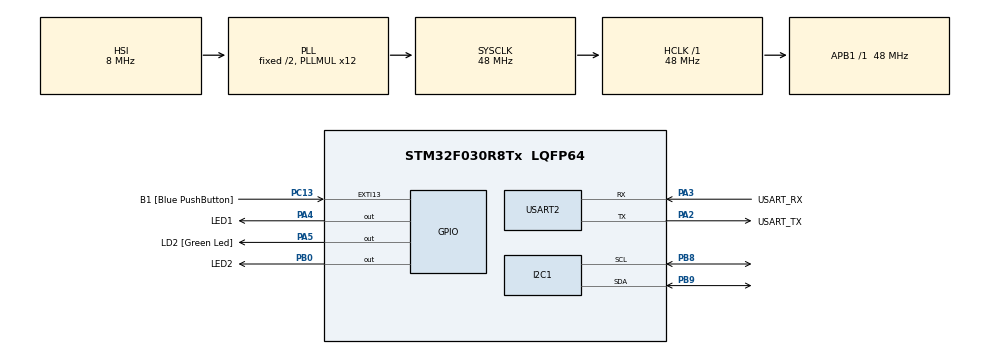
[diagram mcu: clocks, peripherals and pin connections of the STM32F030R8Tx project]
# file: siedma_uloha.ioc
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FREERTOS.Queues01=xVisualQueue,16,int16_t,0,Dynamic,NULL,NULL
FREERTOS.Tasks01=defaultTask,0,128,StartDefaultTask,Default,NULL,Dynamic,NULL,NULL;VisualTask,-3,128,StartVisualTask,Default,NULL,Dynamic,NULL,NULL;AcceleroTask,-3,128,StartAcceleroTask,Default,NULL,Dynamic,NULL,NULL
FREERTOS.configUSE_NEWLIB_REENTRANT=1
Mcu.Family=STM32F0
Mcu.Name=STM32F030R8Tx
Mcu.Package=LQFP64
NVIC.TIM14_IRQn=true\:3\:0\:false\:false\:true\:false\:false\:true\:true
NVIC.TimeBase=TIM14_IRQn
NVIC.TimeBaseIP=TIM14
PA13.GPIO_Label=TMS
PA13.Mode=Serial_Wire
PA13.Signal=SYS_SWDIO
PA14.GPIO_Label=TCK
PA14.Mode=Serial_Wire
PA14.Signal=SYS_SWCLK
PA2.GPIO_Label=USART_TX
PA2.GPIO_Mode=GPIO_MODE_AF_PP
PA2.GPIO_PuPd=GPIO_NOPULL
PA2.GPIO_Speed=GPIO_SPEED_FREQ_LOW
PA2.Mode=Asynchronous
PA2.Signal=USART2_TX
PA3.GPIO_Label=USART_RX
PA3.GPIO_Mode=GPIO_MODE_AF_PP
PA3.GPIO_PuPd=GPIO_NOPULL
PA3.GPIO_Speed=GPIO_SPEED_FREQ_LOW
PA3.Mode=Asynchronous
PA3.Signal=USART2_RX
PA4.GPIO_Label=LED1
PA4.Signal=GPIO_Output
PA5.GPIO_Label=LD2 [Green Led]
PA5.GPIO_Mode=GPIO_MODE_OUTPUT_PP
PA5.GPIO_PuPd=GPIO_NOPULL
PA5.GPIO_Speed=GPIO_SPEED_FREQ_LOW
PA5.Signal=GPIO_Output
PB0.GPIO_Label=LED2
PB0.Signal=GPIO_Output
PB8.Mode=I2C
PB8.Signal=I2C1_SCL
PB9.Mode=I2C
PB9.Signal=I2C1_SDA
PC13.GPIO_Label=B1 [Blue PushButton]
PC13.GPIO_ModeDefaultEXTI=GPIO_MODE_IT_FALLING
PC13.Signal=GPXTI13
PC14-OSC32_IN.Mode=LSE-External-Oscillator
PC14-OSC32_IN.Signal=RCC_OSC32_IN
PC15-OSC32_OUT.Mode=LSE-External-Oscillator
PC15-OSC32_OUT.Signal=RCC_OSC32_OUT
PF0-OSC_IN.Mode=HSE-External-Clock-Source
PF0-OSC_IN.Signal=RCC_OSC_IN
PF1-OSC_OUT.Signal=RCC_OSC_OUT
ProjectManager.HeapSize=0x200
ProjectManager.StackSize=0x400
ProjectManager.TargetToolchain=STM32CubeIDE
RCC.AHBFreq_Value=48000000
RCC.APB1Freq_Value=48000000
RCC.APB1TimFreq_Value=48000000
RCC.HCLKFreq_Value=48000000
RCC.PLLMUL=RCC_PLL_MUL12
RCC.SYSCLKFreq_VALUE=48000000
RCC.SYSCLKSource=RCC_SYSCLKSOURCE_PLLCLK
USART2.VirtualMode-Asynchronous=VM_ASYNC
VP_FREERTOS_VS_CMSIS_V1.Mode=CMSIS_V1
VP_SYS_VS_tim14.Mode=TIM14
board=NUCLEO-F030R8

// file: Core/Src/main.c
/* USER CODE BEGIN Header */
/**
  ******************************************************************************
  * @file           : main.c
  * @brief          : Main program body
  ******************************************************************************
  * @attention
  *
  * Copyright (c) 2023 STMicroelectronics.
  * All rights reserved.
  *
  * This software is licensed under terms that can be found in the LICENSE file
  * in the root directory of this software component.
  * If no LICENSE file comes with this software, it is provided AS-IS.
  *
  ******************************************************************************
  */
/* USER CODE END Header */
#include "main.h"
#include "cmsis_os.h"

/* USER CODE BEGIN Includes */
#include "lis2dw12_reg.h"
#include <stdio.h>
/* USER CODE END Includes */

/* USER CODE BEGIN PD */
#define UART_MSG_SEND_DELAY 1000
/* USER CODE END PD */

I2C_HandleTypeDef hi2c1;

UART_HandleTypeDef huart2;

osThreadId defaultTaskHandle;
osThreadId VisualTaskHandle;
osThreadId AcceleroTaskHandle;
osMessageQId xVisualQueueHandle;

void SystemClock_Config(void);
static void MX_GPIO_Init(void);
static void MX_USART2_UART_Init(void);
static void MX_I2C1_Init(void);
void StartDefaultTask(void const * argument);
void StartVisualTask(void const * argument);
void StartAcceleroTask(void const * argument);

/* USER CODE BEGIN 0 */
static int32_t platform_write(void *handle, uint8_t reg,  uint8_t *bufp, uint16_t len);
static int32_t platform_read(void *handle, uint8_t reg,  uint8_t *bufp, uint16_t len);
static stmdev_ctx_t lis2dw12 = {
 .write_reg = platform_write,
 .read_reg = platform_read,
 .handle = &hi2c1,
};

static int32_t platform_write(void *handle, uint8_t reg,  uint8_t *bufp, uint16_t len)
{
 HAL_I2C_Mem_Write(handle, LIS2DW12_I2C_ADD_H, reg, I2C_MEMADD_SIZE_8BIT, bufp, len, 1000);
 return 0;
}
static int32_t platform_read(void *handle, uint8_t reg,  uint8_t *bufp, uint16_t len)
{
 HAL_I2C_Mem_Read(handle, LIS2DW12_I2C_ADD_H, reg, I2C_MEMADD_SIZE_8BIT, bufp, len, 1000);
 return 0;
}

int _write(int file, char const *buf, int n)
{
	HAL_UART_Transmit(&huart2, (uint8_t*)(buf), n, HAL_MAX_DELAY);
	return n;
}
/* USER CODE END 0 */

int main(void)
{

  /* MCU Configuration--------------------------------------------------------*/

  /* Reset of all peripherals, Initializes the Flash interface and the Systick. */
  HAL_Init();

  /* Configure the system clock */
  SystemClock_Config();

  /* Initialize all configured peripherals */
  MX_GPIO_Init();
  MX_USART2_UART_Init();
  MX_I2C1_Init();

  /* Create the queue(s) */
  /* definition and creation of xVisualQueue */
  osMessageQDef(xVisualQueue, 16, int16_t);
  xVisualQueueHandle = osMessageCreate(osMessageQ(xVisualQueue), NULL);

  /* Create the thread(s) */
  /* definition and creation of defaultTask */
  osThreadDef(defaultTask, StartDefaultTask, osPriorityNormal, 0, 128);
  defaultTaskHandle = osThreadCreate(osThread(defaultTask), NULL);

  /* definition and creation of VisualTask */
  osThreadDef(VisualTask, StartVisualTask, osPriorityIdle, 0, 128);
  VisualTaskHandle = osThreadCreate(osThread(VisualTask), NULL);

  /* definition and creation of AcceleroTask */
  osThreadDef(AcceleroTask, StartAcceleroTask, osPriorityIdle, 0, 128);
  AcceleroTaskHandle = osThreadCreate(osThread(AcceleroTask), NULL);

  /* Start scheduler */
  osKernelStart();

  /* We should never get here as control is now taken by the scheduler */
  /* Infinite loop */
  while (1)
  {

  }
}

void SystemClock_Config(void)
{
  RCC_OscInitTypeDef RCC_OscInitStruct = {0};
  RCC_ClkInitTypeDef RCC_ClkInitStruct = {0};
  RCC_PeriphCLKInitTypeDef PeriphClkInit = {0};

  /** Initializes the RCC Oscillators according to the specified parameters
  * in the RCC_OscInitTypeDef structure.
  */
  RCC_OscInitStruct.OscillatorType = RCC_OSCILLATORTYPE_HSI;
  RCC_OscInitStruct.HSIState = RCC_HSI_ON;
  RCC_OscInitStruct.HSICalibrationValue = RCC_HSICALIBRATION_DEFAULT;
  RCC_OscInitStruct.PLL.PLLState = RCC_PLL_ON;
  RCC_OscInitStruct.PLL.PLLSource = RCC_PLLSOURCE_HSI;
  RCC_OscInitStruct.PLL.PLLMUL = RCC_PLL_MUL12;
  RCC_OscInitStruct.PLL.PREDIV = RCC_PREDIV_DIV1;
  if (HAL_RCC_OscConfig(&RCC_OscInitStruct) != HAL_OK)
  {
    Error_Handler();
  }

  /** Initializes the CPU, AHB and APB buses clocks
  */
  RCC_ClkInitStruct.ClockType = RCC_CLOCKTYPE_HCLK|RCC_CLOCKTYPE_SYSCLK
                              |RCC_CLOCKTYPE_PCLK1;
  RCC_ClkInitStruct.SYSCLKSource = RCC_SYSCLKSOURCE_PLLCLK;
  RCC_ClkInitStruct.AHBCLKDivider = RCC_SYSCLK_DIV1;
  RCC_ClkInitStruct.APB1CLKDivider = RCC_HCLK_DIV1;

  if (HAL_RCC_ClockConfig(&RCC_ClkInitStruct, FLASH_LATENCY_1) != HAL_OK)
  {
    Error_Handler();
  }
  PeriphClkInit.PeriphClockSelection = RCC_PERIPHCLK_I2C1;
  PeriphClkInit.I2c1ClockSelection = RCC_I2C1CLKSOURCE_HSI;
  if (HAL_RCCEx_PeriphCLKConfig(&PeriphClkInit) != HAL_OK)
  {
    Error_Handler();
  }
}

static void MX_I2C1_Init(void)
{

  hi2c1.Instance = I2C1;
  hi2c1.Init.Timing = 0x2000090E;
  hi2c1.Init.OwnAddress1 = 0;
  hi2c1.Init.AddressingMode = I2C_ADDRESSINGMODE_7BIT;
  hi2c1.Init.DualAddressMode = I2C_DUALADDRESS_DISABLE;
  hi2c1.Init.OwnAddress2 = 0;
  hi2c1.Init.OwnAddress2Masks = I2C_OA2_NOMASK;
  hi2c1.Init.GeneralCallMode = I2C_GENERALCALL_DISABLE;
  hi2c1.Init.NoStretchMode = I2C_NOSTRETCH_DISABLE;
  if (HAL_I2C_Init(&hi2c1) != HAL_OK)
  {
    Error_Handler();
  }

  /** Configure Analogue filter
  */
  if (HAL_I2CEx_ConfigAnalogFilter(&hi2c1, I2C_ANALOGFILTER_ENABLE) != HAL_OK)
  {
    Error_Handler();
  }

  /** Configure Digital filter
  */
  if (HAL_I2CEx_ConfigDigitalFilter(&hi2c1, 0) != HAL_OK)
  {
    Error_Handler();
  }

}

static void MX_USART2_UART_Init(void)
{

  huart2.Instance = USART2;
  huart2.Init.BaudRate = 38400;
  huart2.Init.WordLength = UART_WORDLENGTH_8B;
  huart2.Init.StopBits = UART_STOPBITS_1;
  huart2.Init.Parity = UART_PARITY_NONE;
  huart2.Init.Mode = UART_MODE_TX_RX;
  huart2.Init.HwFlowCtl = UART_HWCONTROL_NONE;
  huart2.Init.OverSampling = UART_OVERSAMPLING_16;
  huart2.Init.OneBitSampling = UART_ONE_BIT_SAMPLE_DISABLE;
  huart2.AdvancedInit.AdvFeatureInit = UART_ADVFEATURE_NO_INIT;
  if (HAL_UART_Init(&huart2) != HAL_OK)
  {
    Error_Handler();
  }

}

static void MX_GPIO_Init(void)
{
  GPIO_InitTypeDef GPIO_InitStruct = {0};

  /* GPIO Ports Clock Enable */
  __HAL_RCC_GPIOC_CLK_ENABLE();
  __HAL_RCC_GPIOF_CLK_ENABLE();
  __HAL_RCC_GPIOA_CLK_ENABLE();
  __HAL_RCC_GPIOB_CLK_ENABLE();

  /*Configure GPIO pin Output Level */
  HAL_GPIO_WritePin(GPIOA, LED1_Pin|LD2_Pin, GPIO_PIN_RESET);

  /*Configure GPIO pin Output Level */
  HAL_GPIO_WritePin(LED2_GPIO_Port, LED2_Pin, GPIO_PIN_RESET);

  /*Configure GPIO pin : B1_Pin */
  GPIO_InitStruct.Pin = B1_Pin;
  GPIO_InitStruct.Mode = GPIO_MODE_IT_FALLING;
  GPIO_InitStruct.Pull = GPIO_NOPULL;
  HAL_GPIO_Init(B1_GPIO_Port, &GPIO_InitStruct);

  /*Configure GPIO pins : LED1_Pin LD2_Pin */
  GPIO_InitStruct.Pin = LED1_Pin|LD2_Pin;
  GPIO_InitStruct.Mode = GPIO_MODE_OUTPUT_PP;
  GPIO_InitStruct.Pull = GPIO_NOPULL;
  GPIO_InitStruct.Speed = GPIO_SPEED_FREQ_LOW;
  HAL_GPIO_Init(GPIOA, &GPIO_InitStruct);

  /*Configure GPIO pin : LED2_Pin */
  GPIO_InitStruct.Pin = LED2_Pin;
  GPIO_InitStruct.Mode = GPIO_MODE_OUTPUT_PP;
  GPIO_InitStruct.Pull = GPIO_NOPULL;
  GPIO_InitStruct.Speed = GPIO_SPEED_FREQ_LOW;
  HAL_GPIO_Init(LED2_GPIO_Port, &GPIO_InitStruct);

}

void StartDefaultTask(void const * argument)
{
  /* USER CODE BEGIN 5 */
  /* Infinite loop */
  //int16_t value = 0;
  for(;;)
  {
	// TEST DEMO DATA SENDING LOOP
	/*value = 1001;
	xQueueSend(xVisualQueueHandle, &value, 0);
	osDelay(500);
	value = -1001;
	printf("Hello \n");
	xQueueSend(xVisualQueueHandle, &value, 0);
    osDelay(500);*/
	osDelay(1);
  }
  /* USER CODE END 5 */
}

void StartVisualTask(void const * argument)
{
  /* USER CODE BEGIN StartVisualTask */
  /* Infinite loop */
   for (;;) {
		int16_t msg;
		if (xQueueReceive(xVisualQueueHandle, &msg, portMAX_DELAY)) {
			if (msg < (-1000)) {
				HAL_GPIO_WritePin(LED1_GPIO_Port, LED1_Pin, GPIO_PIN_SET);
				HAL_GPIO_WritePin(LED2_GPIO_Port, LED2_Pin, GPIO_PIN_RESET);
			} else if (msg > 1000) {
				HAL_GPIO_WritePin(LED2_GPIO_Port, LED2_Pin, GPIO_PIN_SET);
				HAL_GPIO_WritePin(LED1_GPIO_Port, LED1_Pin, GPIO_PIN_RESET);
			} else {
				HAL_GPIO_WritePin(LED1_GPIO_Port, LED1_Pin, GPIO_PIN_RESET);
				HAL_GPIO_WritePin(LED2_GPIO_Port, LED2_Pin, GPIO_PIN_RESET);
			}
		}
		osDelay(1);
	}
  /* USER CODE END StartVisualTask */
}

void StartAcceleroTask(void const * argument)
{
  /* USER CODE BEGIN StartAcceleroTask */
	// Check device ID
	uint8_t whoamI = 0;
	uint8_t samples;
	int16_t raw_acceleration[3];
	uint32_t last_uart_msg_tick=0;

	lis2dw12_device_id_get(&lis2dw12, &whoamI);
	printf("LIS2DW12_ID %s\n", (whoamI == LIS2DW12_ID) ? "OK" : "FAIL");

	// Init Accelerometer
	lis2dw12_full_scale_set(&lis2dw12, LIS2DW12_2g);
	lis2dw12_power_mode_set(&lis2dw12, LIS2DW12_CONT_LOW_PWR_LOW_NOISE_2);
	lis2dw12_block_data_update_set(&lis2dw12, PROPERTY_ENABLE);
	lis2dw12_fifo_mode_set(&lis2dw12, LIS2DW12_STREAM_MODE); // enable continuous FIFO
	lis2dw12_data_rate_set(&lis2dw12, LIS2DW12_XL_ODR_25Hz); // enable part from power-down

	/* Infinite loop */
	for (;;) {

		lis2dw12_fifo_data_level_get(&lis2dw12, &samples);
		for (uint8_t i = 0; i < samples; i++) {
			// Read acceleration data
			lis2dw12_acceleration_raw_get(&lis2dw12, raw_acceleration);
			if (xTaskGetTickCount() > last_uart_msg_tick + UART_MSG_SEND_DELAY) {
				printf("X=%d Y=%d Z=%d\n", raw_acceleration[0], raw_acceleration[1],
						raw_acceleration[2]);
				last_uart_msg_tick = xTaskGetTickCount();
			}
		}
		xQueueSend(xVisualQueueHandle, &raw_acceleration[0], 0);

		osDelay(50);
	}
  /* USER CODE END StartAcceleroTask */
}

void HAL_TIM_PeriodElapsedCallback(TIM_HandleTypeDef *htim)
{
  if (htim->Instance == TIM14) {
    HAL_IncTick();
  }
}

void Error_Handler(void)
{
  __disable_irq();
  while (1)
  {
  }
}
